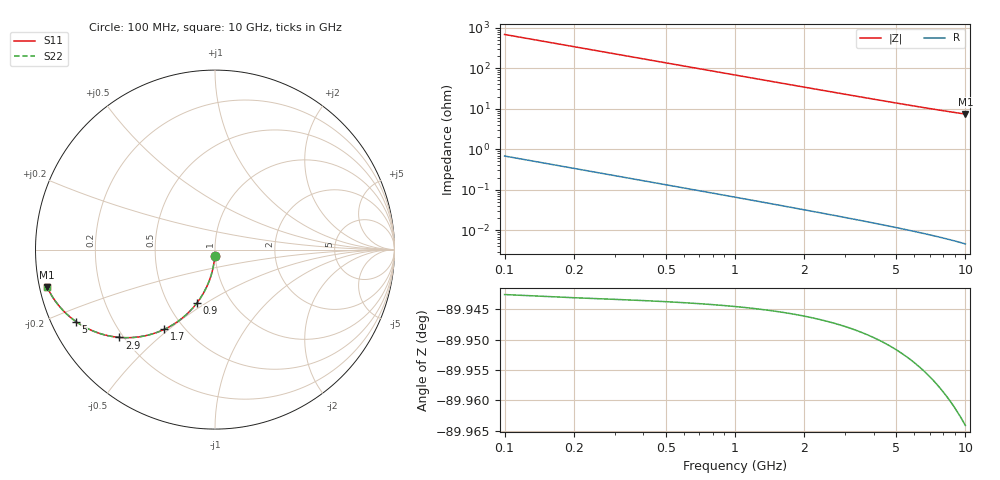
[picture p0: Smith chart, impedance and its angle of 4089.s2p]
# Hz S RI R 50.00
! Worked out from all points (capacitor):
!   100 points, 100 MHz to 10 GHz, reference 50 ohm
!   read as one part in shunt: C = 2.34 pF near 100 MHz
!   lowest |Z| = 7.39 ohm at 10 GHz (marker M1)
!   S11 on the Smith chart (normalised r, x): 100 MHz: 0.99, -0.07; 900 MHz: 0.70, -0.46; 1.7 GHz: 0.39, -0.48; 2.9 GHz: 0.18, -0.38; 5 GHz: 0.07, -0.24; 10 GHz: 0.02, -0.11
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1e8  -0.00129 -0.0364  0.9985 -0.037  0.9985 -0.037  -0.00129 -0.0364
2e8  -0.00536 -0.0725  0.9945 -0.0738  0.9945 -0.0738  -0.00536 -0.0725
3e8  -0.012 -0.108  0.9878 -0.1099  0.9878 -0.1099  -0.012 -0.108
4e8  -0.0212 -0.1427  0.9786 -0.1452  0.9786 -0.1452  -0.0212 -0.1427
5e8  -0.0328 -0.1762  0.967 -0.1794  0.967 -0.1794  -0.0328 -0.1762
6e8  -0.0465 -0.2084  0.9533 -0.2122  0.9533 -0.2122  -0.0465 -0.2084
7e8  -0.0623 -0.2391  0.9375 -0.2435  0.9375 -0.2435  -0.0623 -0.2391
9e8  -0.0989 -0.2953  0.9009 -0.301  0.9009 -0.301  -0.0989 -0.2953
1.1e9  -0.1408 -0.344  0.859 -0.3509  0.859 -0.3509  -0.1408 -0.344
1.3e9  -0.1863 -0.3848  0.8135 -0.393  0.8135 -0.393  -0.1863 -0.3848
1.7e9  -0.2814 -0.4439  0.7183 -0.4546  0.7183 -0.4546  -0.2814 -0.4439
1.8e9  -0.3051 -0.4543  0.6946 -0.4657  0.6946 -0.4657  -0.3051 -0.4543
2.3e9  -0.4178 -0.4854  0.5819 -0.5  0.5819 -0.5  -0.4178 -0.4854
2.9e9  -0.5333 -0.4891  0.4663 -0.5076  0.4663 -0.5076  -0.5333 -0.4891
3.4e9  -0.6114 -0.476  0.3881 -0.4977  0.3881 -0.4977  -0.6114 -0.476
4.2e9  -0.7067 -0.4411  0.2927 -0.4681  0.2927 -0.4681  -0.7067 -0.4411
5e9  -0.7743 -0.4011  0.225 -0.4334  0.225 -0.4334  -0.7743 -0.4011
5.1e9  -0.7812 -0.3961  0.218 -0.4291  0.218 -0.4291  -0.7812 -0.3961
5.9e9  -0.8277 -0.3575  0.1713 -0.3959  0.1713 -0.3959  -0.8277 -0.3575
6.7e9  -0.8617 -0.3221  0.1371 -0.366  0.1371 -0.366  -0.8617 -0.3221
8.4e9  -0.9085 -0.2586  0.0897 -0.3145  0.0897 -0.3145  -0.9085 -0.2586
1e10  -0.9344 -0.2109  0.063 -0.2786  0.063 -0.2786  -0.9344 -0.2109
